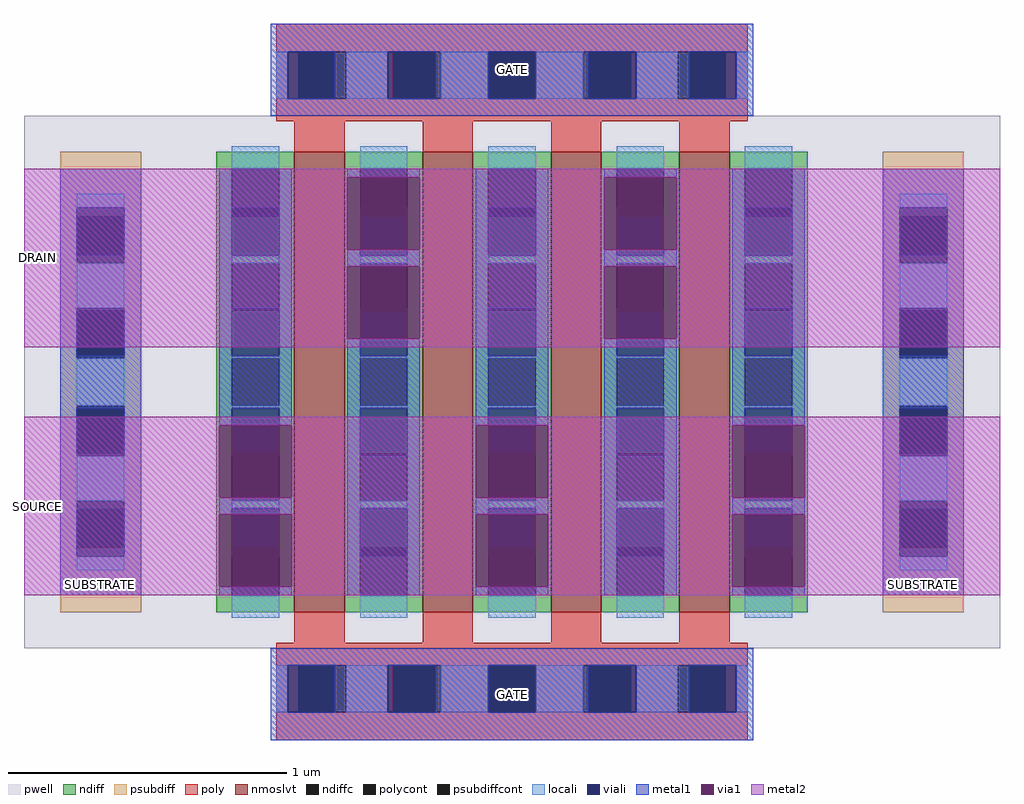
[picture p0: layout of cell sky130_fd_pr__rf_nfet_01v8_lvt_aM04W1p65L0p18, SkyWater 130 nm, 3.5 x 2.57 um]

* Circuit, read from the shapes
.subckt sky130_fd_pr__rf_nfet_01v8_lvt_aM04W1p65L0p18 DRAIN GATE SOURCE SUBSTRATE
XM1 DRAIN GATE SOURCE SUBSTRATE sky130_fd_pr__nfet_01v8_lvt w=1.65 l=0.18 m=4
.ends

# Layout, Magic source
magic
tech sky130A
magscale 1 2
<< pwell >>
rect 10 76 710 458
<< nmoslvt >>
rect 204 102 240 432
rect 296 102 332 432
rect 388 102 424 432
rect 480 102 516 432
<< ndiff >>
rect 148 420 204 432
rect 148 386 159 420
rect 193 386 204 420
rect 148 352 204 386
rect 148 318 159 352
rect 193 318 204 352
rect 148 284 204 318
rect 148 250 159 284
rect 193 250 204 284
rect 148 216 204 250
rect 148 182 159 216
rect 193 182 204 216
rect 148 148 204 182
rect 148 114 159 148
rect 193 114 204 148
rect 148 102 204 114
rect 240 420 296 432
rect 240 386 251 420
rect 285 386 296 420
rect 240 352 296 386
rect 240 318 251 352
rect 285 318 296 352
rect 240 284 296 318
rect 240 250 251 284
rect 285 250 296 284
rect 240 216 296 250
rect 240 182 251 216
rect 285 182 296 216
rect 240 148 296 182
rect 240 114 251 148
rect 285 114 296 148
rect 240 102 296 114
rect 332 420 388 432
rect 332 386 343 420
rect 377 386 388 420
rect 332 352 388 386
rect 332 318 343 352
rect 377 318 388 352
rect 332 284 388 318
rect 332 250 343 284
rect 377 250 388 284
rect 332 216 388 250
rect 332 182 343 216
rect 377 182 388 216
rect 332 148 388 182
rect 332 114 343 148
rect 377 114 388 148
rect 332 102 388 114
rect 424 420 480 432
rect 424 386 435 420
rect 469 386 480 420
rect 424 352 480 386
rect 424 318 435 352
rect 469 318 480 352
rect 424 284 480 318
rect 424 250 435 284
rect 469 250 480 284
rect 424 216 480 250
rect 424 182 435 216
rect 469 182 480 216
rect 424 148 480 182
rect 424 114 435 148
rect 469 114 480 148
rect 424 102 480 114
rect 516 420 572 432
rect 516 386 527 420
rect 561 386 572 420
rect 516 352 572 386
rect 516 318 527 352
rect 561 318 572 352
rect 516 284 572 318
rect 516 250 527 284
rect 561 250 572 284
rect 516 216 572 250
rect 516 182 527 216
rect 561 182 572 216
rect 516 148 572 182
rect 516 114 527 148
rect 561 114 572 148
rect 516 102 572 114
<< ndiffc >>
rect 159 386 193 420
rect 159 318 193 352
rect 159 250 193 284
rect 159 182 193 216
rect 159 114 193 148
rect 251 386 285 420
rect 251 318 285 352
rect 251 250 285 284
rect 251 182 285 216
rect 251 114 285 148
rect 343 386 377 420
rect 343 318 377 352
rect 343 250 377 284
rect 343 182 377 216
rect 343 114 377 148
rect 435 386 469 420
rect 435 318 469 352
rect 435 250 469 284
rect 435 182 469 216
rect 435 114 469 148
rect 527 386 561 420
rect 527 318 561 352
rect 527 250 561 284
rect 527 182 561 216
rect 527 114 561 148
<< psubdiff >>
rect 36 386 94 432
rect 36 352 48 386
rect 82 352 94 386
rect 36 318 94 352
rect 36 284 48 318
rect 82 284 94 318
rect 36 250 94 284
rect 36 216 48 250
rect 82 216 94 250
rect 36 182 94 216
rect 36 148 48 182
rect 82 148 94 182
rect 36 102 94 148
rect 626 386 684 432
rect 626 352 638 386
rect 672 352 684 386
rect 626 318 684 352
rect 626 284 638 318
rect 672 284 684 318
rect 626 250 684 284
rect 626 216 638 250
rect 672 216 684 250
rect 626 182 684 216
rect 626 148 638 182
rect 672 148 684 182
rect 626 102 684 148
<< psubdiffcont >>
rect 48 352 82 386
rect 48 284 82 318
rect 48 216 82 250
rect 48 148 82 182
rect 638 352 672 386
rect 638 284 672 318
rect 638 216 672 250
rect 638 148 672 182
<< poly >>
rect 191 504 529 524
rect 191 470 207 504
rect 241 470 275 504
rect 309 470 343 504
rect 377 470 411 504
rect 445 470 479 504
rect 513 470 529 504
rect 191 454 529 470
rect 204 432 240 454
rect 296 432 332 454
rect 388 432 424 454
rect 480 432 516 454
rect 204 80 240 102
rect 296 80 332 102
rect 388 80 424 102
rect 480 80 516 102
rect 191 64 529 80
rect 191 30 207 64
rect 241 30 275 64
rect 309 30 343 64
rect 377 30 411 64
rect 445 30 479 64
rect 513 30 529 64
rect 191 10 529 30
<< polycont >>
rect 207 470 241 504
rect 275 470 309 504
rect 343 470 377 504
rect 411 470 445 504
rect 479 470 513 504
rect 207 30 241 64
rect 275 30 309 64
rect 343 30 377 64
rect 411 30 445 64
rect 479 30 513 64
<< locali >>
rect 191 470 199 504
rect 241 470 271 504
rect 309 470 343 504
rect 377 470 411 504
rect 449 470 479 504
rect 521 470 529 504
rect 159 420 193 436
rect 48 392 82 402
rect 48 320 82 352
rect 48 250 82 284
rect 48 182 82 214
rect 48 132 82 142
rect 159 352 193 358
rect 159 284 193 286
rect 159 248 193 250
rect 159 176 193 182
rect 159 98 193 114
rect 251 420 285 436
rect 251 352 285 358
rect 251 284 285 286
rect 251 248 285 250
rect 251 176 285 182
rect 251 98 285 114
rect 343 420 377 436
rect 343 352 377 358
rect 343 284 377 286
rect 343 248 377 250
rect 343 176 377 182
rect 343 98 377 114
rect 435 420 469 436
rect 435 352 469 358
rect 435 284 469 286
rect 435 248 469 250
rect 435 176 469 182
rect 435 98 469 114
rect 527 420 561 436
rect 527 352 561 358
rect 527 284 561 286
rect 527 248 561 250
rect 527 176 561 182
rect 638 392 672 402
rect 638 320 672 352
rect 638 250 672 284
rect 638 182 672 214
rect 638 132 672 142
rect 527 98 561 114
rect 191 30 199 64
rect 241 30 271 64
rect 309 30 343 64
rect 377 30 411 64
rect 449 30 479 64
rect 521 30 529 64
<< viali >>
rect 199 470 207 504
rect 207 470 233 504
rect 271 470 275 504
rect 275 470 305 504
rect 343 470 377 504
rect 415 470 445 504
rect 445 470 449 504
rect 487 470 513 504
rect 513 470 521 504
rect 48 386 82 392
rect 48 358 82 386
rect 48 318 82 320
rect 48 286 82 318
rect 48 216 82 248
rect 48 214 82 216
rect 48 148 82 176
rect 48 142 82 148
rect 159 386 193 392
rect 159 358 193 386
rect 159 318 193 320
rect 159 286 193 318
rect 159 216 193 248
rect 159 214 193 216
rect 159 148 193 176
rect 159 142 193 148
rect 251 386 285 392
rect 251 358 285 386
rect 251 318 285 320
rect 251 286 285 318
rect 251 216 285 248
rect 251 214 285 216
rect 251 148 285 176
rect 251 142 285 148
rect 343 386 377 392
rect 343 358 377 386
rect 343 318 377 320
rect 343 286 377 318
rect 343 216 377 248
rect 343 214 377 216
rect 343 148 377 176
rect 343 142 377 148
rect 435 386 469 392
rect 435 358 469 386
rect 435 318 469 320
rect 435 286 469 318
rect 435 216 469 248
rect 435 214 469 216
rect 435 148 469 176
rect 435 142 469 148
rect 527 386 561 392
rect 527 358 561 386
rect 527 318 561 320
rect 527 286 561 318
rect 527 216 561 248
rect 527 214 561 216
rect 527 148 561 176
rect 527 142 561 148
rect 638 386 672 392
rect 638 358 672 386
rect 638 318 672 320
rect 638 286 672 318
rect 638 216 672 248
rect 638 214 672 216
rect 638 148 672 176
rect 638 142 672 148
rect 199 30 207 64
rect 207 30 233 64
rect 271 30 275 64
rect 275 30 305 64
rect 343 30 377 64
rect 415 30 445 64
rect 445 30 449 64
rect 487 30 513 64
rect 513 30 521 64
<< metal1 >>
rect 187 504 533 524
rect 187 470 199 504
rect 233 470 271 504
rect 305 470 343 504
rect 377 470 415 504
rect 449 470 487 504
rect 521 470 533 504
rect 187 458 533 470
rect 36 392 94 420
rect 36 358 48 392
rect 82 358 94 392
rect 36 320 94 358
rect 36 286 48 320
rect 82 286 94 320
rect 36 248 94 286
rect 36 214 48 248
rect 82 214 94 248
rect 36 176 94 214
rect 36 142 48 176
rect 82 142 94 176
rect 36 114 94 142
rect 150 392 202 420
rect 150 358 159 392
rect 193 358 202 392
rect 150 320 202 358
rect 150 286 159 320
rect 193 286 202 320
rect 150 248 202 286
rect 150 236 159 248
rect 193 236 202 248
rect 150 176 202 184
rect 150 172 159 176
rect 193 172 202 176
rect 150 114 202 120
rect 242 414 294 420
rect 242 358 251 362
rect 285 358 294 362
rect 242 350 294 358
rect 242 286 251 298
rect 285 286 294 298
rect 242 248 294 286
rect 242 214 251 248
rect 285 214 294 248
rect 242 176 294 214
rect 242 142 251 176
rect 285 142 294 176
rect 242 114 294 142
rect 334 392 386 420
rect 334 358 343 392
rect 377 358 386 392
rect 334 320 386 358
rect 334 286 343 320
rect 377 286 386 320
rect 334 248 386 286
rect 334 236 343 248
rect 377 236 386 248
rect 334 176 386 184
rect 334 172 343 176
rect 377 172 386 176
rect 334 114 386 120
rect 426 414 478 420
rect 426 358 435 362
rect 469 358 478 362
rect 426 350 478 358
rect 426 286 435 298
rect 469 286 478 298
rect 426 248 478 286
rect 426 214 435 248
rect 469 214 478 248
rect 426 176 478 214
rect 426 142 435 176
rect 469 142 478 176
rect 426 114 478 142
rect 518 392 570 420
rect 518 358 527 392
rect 561 358 570 392
rect 518 320 570 358
rect 518 286 527 320
rect 561 286 570 320
rect 518 248 570 286
rect 518 236 527 248
rect 561 236 570 248
rect 518 176 570 184
rect 518 172 527 176
rect 561 172 570 176
rect 518 114 570 120
rect 626 392 684 420
rect 626 358 638 392
rect 672 358 684 392
rect 626 320 684 358
rect 626 286 638 320
rect 672 286 684 320
rect 626 248 684 286
rect 626 214 638 248
rect 672 214 684 248
rect 626 176 684 214
rect 626 142 638 176
rect 672 142 684 176
rect 626 114 684 142
rect 187 64 533 76
rect 187 30 199 64
rect 233 30 271 64
rect 305 30 343 64
rect 377 30 415 64
rect 449 30 487 64
rect 521 30 533 64
rect 187 10 533 30
<< via1 >>
rect 150 214 159 236
rect 159 214 193 236
rect 193 214 202 236
rect 150 184 202 214
rect 150 142 159 172
rect 159 142 193 172
rect 193 142 202 172
rect 150 120 202 142
rect 242 392 294 414
rect 242 362 251 392
rect 251 362 285 392
rect 285 362 294 392
rect 242 320 294 350
rect 242 298 251 320
rect 251 298 285 320
rect 285 298 294 320
rect 334 214 343 236
rect 343 214 377 236
rect 377 214 386 236
rect 334 184 386 214
rect 334 142 343 172
rect 343 142 377 172
rect 377 142 386 172
rect 334 120 386 142
rect 426 392 478 414
rect 426 362 435 392
rect 435 362 469 392
rect 469 362 478 392
rect 426 320 478 350
rect 426 298 435 320
rect 435 298 469 320
rect 469 298 478 320
rect 518 214 527 236
rect 527 214 561 236
rect 561 214 570 236
rect 518 184 570 214
rect 518 142 527 172
rect 527 142 561 172
rect 561 142 570 172
rect 518 120 570 142
<< metal2 >>
rect 10 414 710 420
rect 10 362 242 414
rect 294 362 426 414
rect 478 362 710 414
rect 10 350 710 362
rect 10 298 242 350
rect 294 298 426 350
rect 478 298 710 350
rect 10 292 710 298
rect 10 236 710 242
rect 10 184 150 236
rect 202 184 334 236
rect 386 184 518 236
rect 570 184 710 236
rect 10 172 710 184
rect 10 120 150 172
rect 202 120 334 172
rect 386 120 518 172
rect 570 120 710 172
rect 10 114 710 120
<< labels >>
flabel metal2 s 10 292 30 420 7 FreeSans 300 180 0 0 DRAIN
port 1 nsew
flabel metal2 s 10 114 30 242 7 FreeSans 300 180 0 0 SOURCE
port 3 nsew
flabel metal1 s 36 114 94 130 3 FreeSans 300 90 0 0 SUBSTRATE
port 4 nsew
flabel metal1 s 626 114 684 130 3 FreeSans 300 90 0 0 SUBSTRATE
port 4 nsew
flabel metal1 s 187 10 533 76 0 FreeSans 300 0 0 0 GATE
port 2 nsew
flabel metal1 s 187 458 533 524 0 FreeSans 300 0 0 0 GATE
port 2 nsew
<< properties >>
string GDS_FILE $PDKPATH/libs.ref/sky130_fd_pr/gds/sky130_fd_pr.gds
string GDS_END 6094640
string GDS_START 6084180
<< end >>
